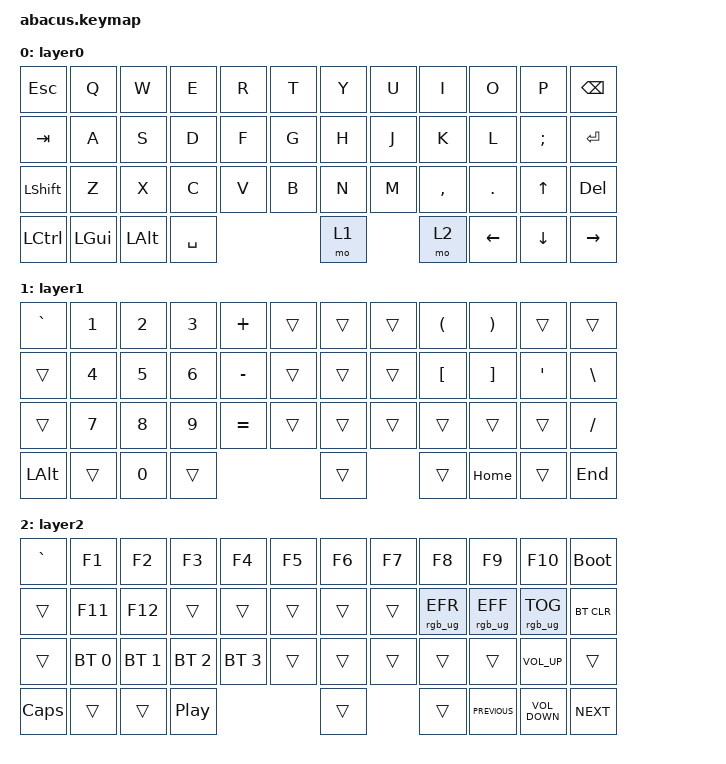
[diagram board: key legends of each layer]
#include <behaviors.dtsi>
#include <dt-bindings/zmk/bt.h>
#include <dt-bindings/zmk/keys.h>
#include <dt-bindings/zmk/rgb.h>

/ {
    keymap {
        compatible = "zmk,keymap";

        layer0 {
            bindings = <
&kp ESCAPE        &kp Q         &kp W         &kp E      &kp R  &kp T  &kp Y  &kp U  &kp I      &kp O     &kp P          &kp BACKSPACE
&kp TAB           &kp A         &kp S         &kp D      &kp F  &kp G  &kp H  &kp J  &kp K      &kp L     &kp SEMICOLON  &kp ENTER
&kp LEFT_SHIFT    &kp Z         &kp X         &kp C      &kp V  &kp B  &kp N  &kp M  &kp COMMA  &kp DOT   &kp UP         &kp DELETE
&kp LEFT_CONTROL  &kp LEFT_GUI  &kp LEFT_ALT  &kp SPACE                &mo 1         &mo 2      &kp LEFT  &kp DOWN       &kp RIGHT
            >;
        };

        layer1 {
            bindings = <
&kp GRAVE     &kp N1        &kp N2        &kp N3        &kp PLUS   &trans  &trans  &trans  &kp LEFT_PARENTHESIS  &kp RIGHT_PARENTHESIS  &trans            &trans
&trans        &kp NUMBER_4  &kp NUMBER_5  &kp NUMBER_6  &kp MINUS  &trans  &trans  &trans  &kp LEFT_BRACKET      &kp RIGHT_BRACKET      &kp SINGLE_QUOTE  &kp BACKSLASH
&trans        &kp NUMBER_7  &kp NUMBER_8  &kp NUMBER_9  &kp EQUAL  &trans  &trans  &trans  &trans                &trans                 &trans            &kp SLASH
&kp LEFT_ALT  &trans        &kp NUMBER_0  &trans                           &trans          &trans                &kp HOME               &trans            &kp END
            >;
        };

        layer2 {
            bindings = <
&kp GRAVE     &kp F1        &kp F2        &kp F3            &kp F4        &kp F5  &kp F6  &kp F7  &kp F8           &kp F9           &kp F10            &bootloader
&trans        &kp F11       &kp F12       &trans            &trans        &trans  &trans  &trans  &rgb_ug RGB_EFR  &rgb_ug RGB_EFF  &rgb_ug RGB_TOG    &bt BT_CLR
&trans        &bt BT_SEL 0  &bt BT_SEL 1  &bt BT_SEL 2      &bt BT_SEL 3  &trans  &trans  &trans  &trans           &trans           &kp C_VOLUME_UP    &trans
&kp CAPSLOCK  &trans        &trans        &kp C_PLAY_PAUSE                        &trans          &trans           &kp C_PREVIOUS   &kp C_VOLUME_DOWN  &kp C_NEXT
            >;
        };
    };
};
